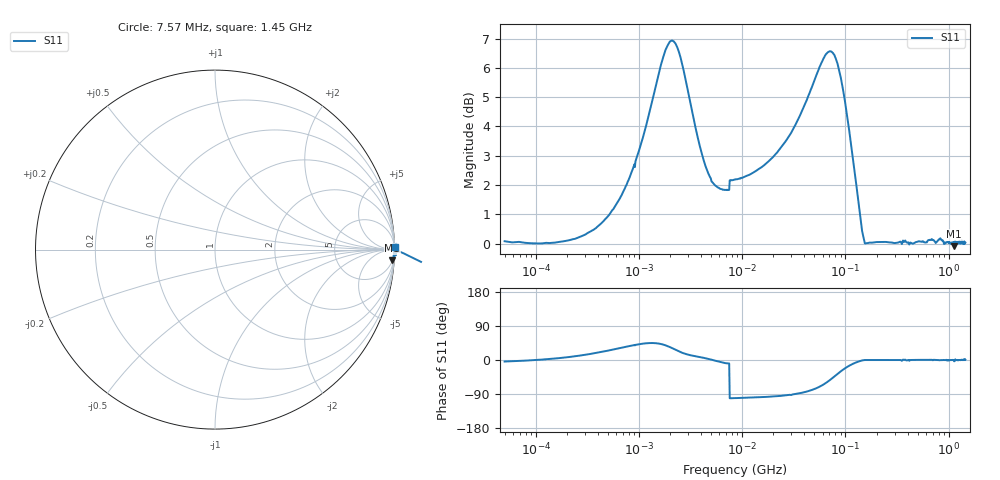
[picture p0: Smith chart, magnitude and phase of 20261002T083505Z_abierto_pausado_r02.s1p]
! piloto_saltos / abierto_pausado / r02
# HZ S RI R 50
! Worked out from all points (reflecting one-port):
!   501 points, 50 kHz to 1.45 GHz, reference 50 ohm
!   lowest |S11| = -0.1 dB at 1.131 GHz (marker M1), VSWR 191.19, Z = 274 - j1.6e+03 ohm
!   phase of S11 starts at -4 deg and turns +5 deg over the sweep
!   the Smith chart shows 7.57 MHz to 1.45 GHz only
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50000  1.006 -0.0706
183000  1.003 0.1054
373000  1.007 0.3275
658000  1.019 0.6279
1180000  1.145 1.111
1630000  1.493 1.356
1990000  1.83 1.242
2440000  1.96 0.815
2890000  1.805 0.4912
3430000  1.587 0.2953
4870000  1.299 0.0417
7300000  1.219 -0.1929
7750000  -0.2409 -1.259
8560000  -0.2345 -1.265
1.81e7  -0.1679 -1.373
3.16e7  -0.0109 -1.576
4.78e7  0.3676 -1.823
6.49e7  1.047 -1.829
7.39e7  1.398 -1.598
8.65e7  1.65 -1.099
9.82e7  1.628 -0.676
1e8  1.61 -0.6209
1.18e8  1.377 -0.2442
1.36e8  1.148 -0.0684
1.63e8  1.002 0.000233
4.06e8  1.005 0.00249
1.1305e9  0.9878 -0.0602
1.45e9  1.003 0.0119
